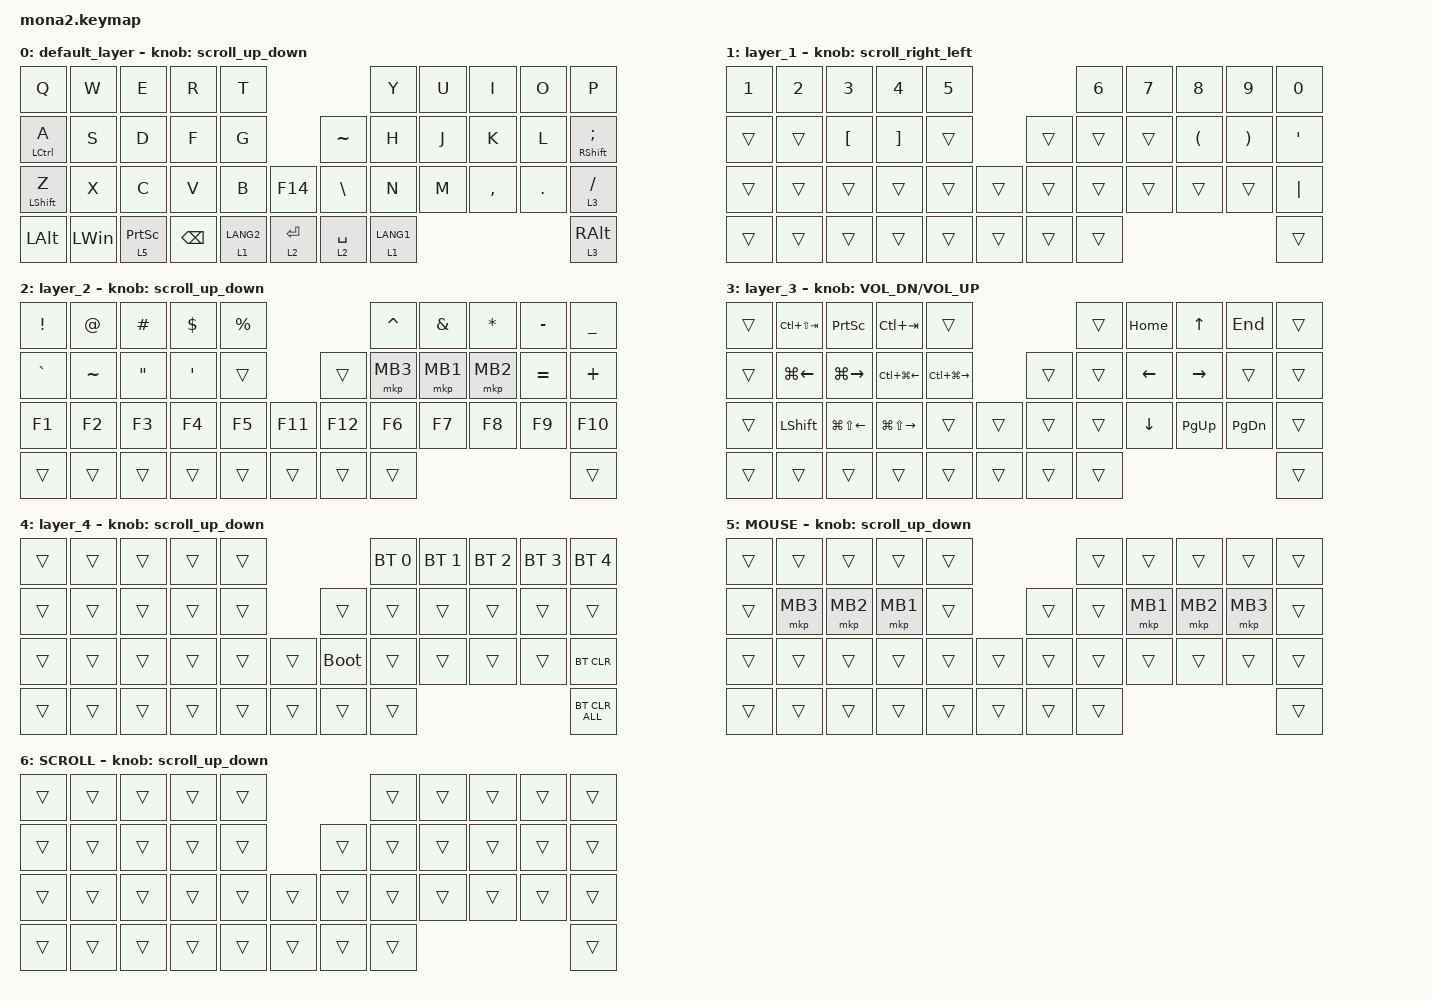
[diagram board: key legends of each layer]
#include <input/processors.dtsi>
#include <dt-bindings/zmk/input_transform.h>
#include <zephyr/dt-bindings/input/input-event-codes.h>
#include <behaviors.dtsi>
#include <dt-bindings/zmk/bt.h>
#include <dt-bindings/zmk/keys.h>
#include <dt-bindings/zmk/pointing.h>

#define ZMK_POINTING_DEFAULT_SCRL_VAL 100
#define MOUSE 5
#define SCROLL 6

&mt {
    flavor = "balanced";
    quick-tap-ms = <0>;
};

&lt {
    quick-tap-ms = <300>;
    flavor = "balanced";
};

/ {
    combos {
        compatible = "zmk,combos";

        layer4_ESC {
            bindings = <&lt 4 ESC>;
            key-positions = <39 38>;
        };

        tab {
            bindings = <&kp TAB>;
            key-positions = <11 10>;
        };

        Minus,Underscore {
            bindings = <&kp MINUS>;
            key-positions = <7 8>;
        };

        Equal,Plus {
            bindings = <&kp EQUAL>;
            key-positions = <8 9>;
        };

        Blaket,Brace {
            bindings = <&kp LEFT_BRACKET>;
            key-positions = <19 20>;
        };
    };

    macros {
        to_layer_0: to_layer_0 {
            compatible = "zmk,behavior-macro-one-param";
            #binding-cells = <1>;
            bindings = <&to 0 &macro_param_1to1 &kp MACRO_PLACEHOLDER>;
            label = "TO_LAYER_0";
        };
    };

    behaviors {
        lt_to_layer_0: lt_to_layer_0 {
            compatible = "zmk,behavior-hold-tap";
            label = "LAYER_TAP_TO_0";
            bindings = <&mo>, <&to_layer_0>;

            #binding-cells = <2>;
            tapping-term-ms = <200>;
        };

        scroll_up_down: mouse_wheel_up_down {
            compatible = "zmk,behavior-sensor-rotate";
            #sensor-binding-cells = <0>;
            bindings = <&msc SCRL_DOWN>, <&msc SCRL_UP>;

            tap-ms = <20>;
        };

        scroll_right_left: mouse_wheel_right_left {
            compatible = "zmk,behavior-sensor-rotate";
            #sensor-binding-cells = <0>;
            bindings = <&msc SCRL_LEFT>, <&msc SCRL_RIGHT>;

            tap-ms = <20>;
        };
    };

    keymap {
        compatible = "zmk,keymap";

        default_layer {
            bindings = <
&kp Q             &kp W         &kp E              &kp R          &kp T                                               &kp Y        &kp U  &kp I      &kp O    &kp P
&mt LCTRL A       &kp S         &kp D              &kp F          &kp G                       &kp TILDE               &kp H        &kp J  &kp K      &kp L    &mt RIGHT_SHIFT SEMICOLON
&mt LEFT_SHIFT Z  &kp X         &kp C              &kp V          &kp B        &kp F14        &kp BACKSLASH           &kp N        &kp M  &kp COMMA  &kp DOT  &lt 3 SLASH
&kp LEFT_ALT      &kp LEFT_WIN  &lt 5 PRINTSCREEN  &kp BACKSPACE  &lt 1 LANG2  &lt 2 ENTER    &lt_to_layer_0 2 SPACE  &lt 1 LANG1                             &lt 3 RIGHT_ALT
            >;

            sensor-bindings = <&scroll_up_down>;
        };

        layer_1 {
            bindings = <
&kp NUMBER_1  &kp NUMBER_2  &kp NUMBER_3      &kp NUMBER_4       &kp NUMBER_5                    &kp NUMBER_6  &kp NUMBER_7  &kp NUMBER_8          &kp NUMBER_9           &kp NUMBER_0
&trans        &trans        &kp LEFT_BRACKET  &kp RIGHT_BRACKET  &trans                  &trans  &trans        &trans        &kp LEFT_PARENTHESIS  &kp RIGHT_PARENTHESIS  &kp SQT
&trans        &trans        &trans            &trans             &trans        &trans    &trans  &trans        &trans        &trans                &trans                 &kp PIPE
&trans        &trans        &trans            &trans             &trans        &trans    &trans  &trans                                                                   &trans
            >;

            sensor-bindings = <&scroll_right_left>;
        };

        layer_2 {
            bindings = <
&kp EXCLAMATION  &kp AT_SIGN  &kp POUND          &kp DOLLAR  &kp PERCENT                      &kp CARET  &kp AMPERSAND  &kp ASTERISK  &kp MINUS  &kp UNDERSCORE
&kp GRAVE        &kp TILDE    &kp DOUBLE_QUOTES  &kp SQT     &trans                  &trans   &mkp MB3   &mkp MB1       &mkp MB2      &kp EQUAL  &kp PLUS
&kp F1           &kp F2       &kp F3             &kp F4      &kp F5       &kp F11    &kp F12  &kp F6     &kp F7         &kp F8        &kp F9     &kp F10
&trans           &trans       &trans             &trans      &trans       &trans     &trans   &trans                                             &trans
            >;

            sensor-bindings = <&scroll_up_down>;
        };

        layer_3 {
            bindings = <
&trans  &kp LC(LS(TAB))     &kp PRINTSCREEN         &kp LC(TAB)              &trans                                     &trans  &kp HOME        &kp UP_ARROW     &kp END        &trans
&trans  &kp LG(LEFT_ARROW)  &kp LG(RIGHT_ARROW)     &kp LC(LG(LEFT_ARROW))   &kp LC(LG(RIGHT_ARROW))            &trans  &trans  &kp LEFT_ARROW  &kp RIGHT_ARROW  &trans         &trans
&trans  &kp LEFT_SHIFT      &kp LG(LS(LEFT_ARROW))  &kp LG(LS(RIGHT_ARROW))  &trans                   &trans    &trans  &trans  &kp DOWN_ARROW  &kp PAGE_UP      &kp PAGE_DOWN  &trans
&trans  &trans              &trans                  &trans                   &trans                   &trans    &trans  &trans                                                  &trans
            >;

            sensor-bindings = <&inc_dec_kp C_VOL_DN C_VOL_UP>;
        };

        layer_4 {
            bindings = <
&trans  &trans  &trans  &trans  &trans                         &bt BT_SEL 0  &bt BT_SEL 1  &bt BT_SEL 2  &bt BT_SEL 3  &bt BT_SEL 4
&trans  &trans  &trans  &trans  &trans            &trans       &trans        &trans        &trans        &trans        &trans
&trans  &trans  &trans  &trans  &trans  &trans    &bootloader  &trans        &trans        &trans        &trans        &bt BT_CLR
&trans  &trans  &trans  &trans  &trans  &trans    &trans       &trans                                                  &bt BT_CLR_ALL
            >;

            sensor-bindings = <&scroll_up_down>;
        };

        MOUSE {
            bindings = <
&trans  &trans    &trans    &trans    &trans                    &trans  &trans    &trans    &trans    &trans
&trans  &mkp MB3  &mkp MB2  &mkp MB1  &trans            &trans  &trans  &mkp MB1  &mkp MB2  &mkp MB3  &trans
&trans  &trans    &trans    &trans    &trans  &trans    &trans  &trans  &trans    &trans    &trans    &trans
&trans  &trans    &trans    &trans    &trans  &trans    &trans  &trans                                &trans
            >;

            sensor-bindings = <&scroll_up_down>;
        };

        SCROLL {
            bindings = <
&trans  &trans  &trans  &trans  &trans                    &trans  &trans  &trans  &trans  &trans
&trans  &trans  &trans  &trans  &trans            &trans  &trans  &trans  &trans  &trans  &trans
&trans  &trans  &trans  &trans  &trans  &trans    &trans  &trans  &trans  &trans  &trans  &trans
&trans  &trans  &trans  &trans  &trans  &trans    &trans  &trans                          &trans
            >;

            sensor-bindings = <&scroll_up_down>;
        };
    };
};
